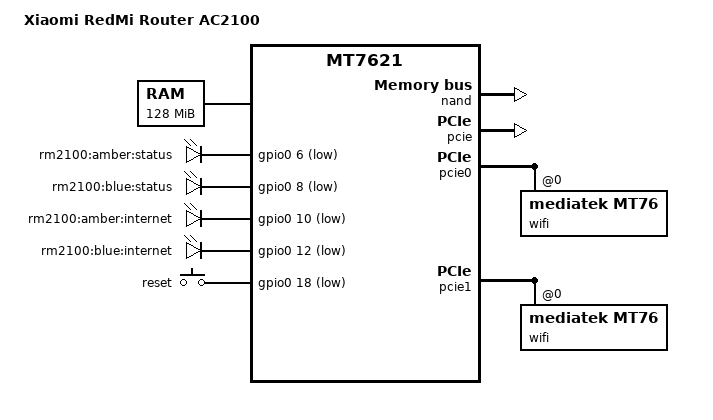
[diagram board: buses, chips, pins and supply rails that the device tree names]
// SPDX-License-Identifier: GPL-2.0-or-later OR MIT
/dts-v1/;

#include "mt7621.dtsi"

#include <dt-bindings/gpio/gpio.h>
#include <dt-bindings/input/input.h>

/ {
	compatible = "xiaomi,rm2100", "mediatek,mt7621-soc";
	model = "Xiaomi RedMi Router AC2100";

	aliases {
		led-boot = &system_status_amber;
		led-failsafe = &system_status_amber;
		led-running = &system_status_blue;
		led-upgrade = &system_status_blue;
	};

	memory@0 {
		device_type = "memory";
		reg = <0x0 0x8000000>;
	};

	chosen {
		bootargs = "console=ttyS0,115200n8";
	};

	leds {
		compatible = "gpio-leds";

		system_status_amber: status_amber {
			label = "rm2100:amber:status";
			gpios = <&gpio0 6 GPIO_ACTIVE_LOW>;
		};

		system_status_blue: status_blue {
			label = "rm2100:blue:status";
			gpios = <&gpio0 8 GPIO_ACTIVE_LOW>;
		};

		internet_amber {
			label = "rm2100:amber:internet";
			gpios = <&gpio0 10 GPIO_ACTIVE_LOW>;
		};

		internet_blue {
			label = "rm2100:blue:internet";
			gpios = <&gpio0 12 GPIO_ACTIVE_LOW>;
		};
	};

	button {
		compatible = "gpio-keys-polled";
		poll-interval = <20>;

		reset {
			label = "reset";
			gpios = <&gpio0 18 GPIO_ACTIVE_LOW>;
			linux,code = <KEY_RESTART>;
		};
	};
};

&nand {
	status = "okay";

	partitions {
		compatible = "fixed-partitions";
		#address-cells = <1>;
		#size-cells = <1>;

		partition@0 {
			label = "Bootloader";
			reg = <0x0 0x80000>;
			read-only;
		};

		partition@80000 {
			label = "Config";
			reg = <0x80000 0x40000>;
		};

		partition@c0000 {
			label = "Bdata";
			reg = <0xc0000 0x40000>;
			read-only;
		};

		factory: partition@100000 {
			label = "Factory";
			reg = <0x100000 0x40000>;
			read-only;
		};

		partition@140000 {
			label = "crash";
			reg = <0x140000 0x40000>;
		};

		partition@180000 {
			label = "crash_syslog";
			reg = <0x180000 0x40000>;
		};

		partition@1c0000 {
			label = "reserved0";
			reg = <0x1c0000 0x40000>;
			read-only;
		};

		/* uboot expects to find kernels at 0x200000 & 0x600000
		 * referred to as system 1 & system 2 respectively.
		 * a kernel is considered suitable for handing control over
		 * if its linux magic number exists & uImage CRC are correct.
		 * If either of those conditions fail, a matching sys'n'_fail flag
		 * is set in uboot env & a restart performed in the hope that the
		 * alternate kernel is okay.
		 * if neither kernel checksums ok and both are marked failed, system 2
		 * is booted anyway.
		 *
		 * Note uboot's tftp flash install writes the transferred
		 * image to both kernel partitions.
		 */

		partition@200000 {
			label = "kernel_stock";
			reg = <0x200000 0x400000>;
		};

		partition@600000 {
			label = "kernel";
			reg = <0x600000 0x400000>;
		};

		/* ubi partition is the result of squashing
		 * next consecutive stock partitions:
		 * - rootfs0 (rootfs partition for stock kernel0),
		 * - rootfs1 (rootfs partition for stock failsafe kernel1),
		 * - overlay (used as ubi overlay in stock fw)
		 * resulting 117,5MiB space for packages.
		 */

		partition@a00000 {
			label = "ubi";
			reg = <0xa00000 0x7580000>;
		};
	};
};

&pcie {
	status = "okay";
};

&pcie0 {
	wifi@0,0 {
		compatible = "mediatek,mt76";
		reg = <0x0000 0 0 0 0>;
		mediatek,mtd-eeprom = <&factory 0x8000>;
		ieee80211-freq-limit = <5000000 6000000>;
	};
};

&pcie1 {
	wifi@0,0 {
		compatible = "mediatek,mt76";
		reg = <0x0000 0 0 0 0>;
		mediatek,mtd-eeprom = <&factory 0x0000>;
		ieee80211-freq-limit = <2400000 2500000>;
	};
};

&ethernet {
	mtd-mac-address = <&factory 0xe000>;
	mediatek,portmap = "wllll";
};

&pinctrl {
	state_default: pinctrl0 {
		gpio {
			ralink,group = "jtag", "uart2", "uart3", "wdt";
			ralink,function = "gpio";
		};
	};
};
